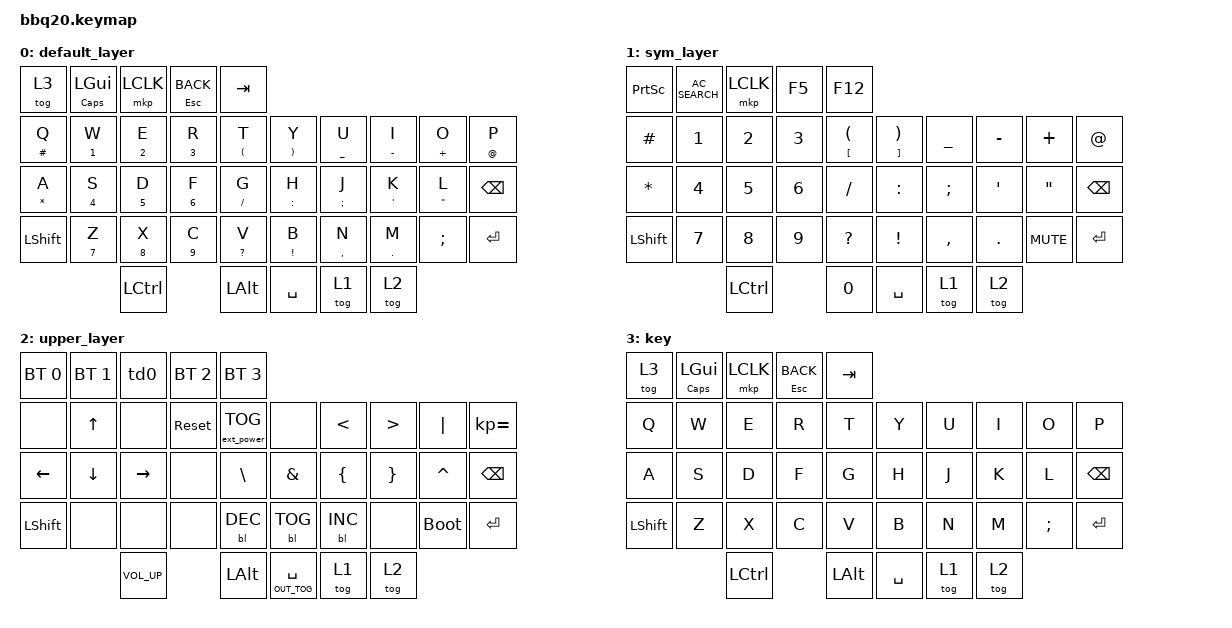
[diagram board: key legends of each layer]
/*
 *Copyright (c) 2025 XixiLee-boom
 *
 * SPDX-License-Identifier: MIT
 */

#include <dt-bindings/zmk/mouse.h>
#include <behaviors.dtsi>
#include <dt-bindings/zmk/backlight.h>
#include <dt-bindings/zmk/bt.h>
#include <dt-bindings/zmk/ext_power.h>
#include <dt-bindings/zmk/keys.h>
#include <dt-bindings/zmk/outputs.h>
#include <dt-bindings/zmk/pointing.h>

#define SYM 1
#define UPPER 2

/ {
    behaviors {
        td0: tap_dance_0 {
            compatible = "zmk,behavior-tap-dance";
            #binding-cells = <0>;
            tapping-term-ms = <400>;
            bindings = <&mkp LCLK>, <&bt BT_CLR>;
        };
    };

    behaviors {
        hm: homerow_mods {
            compatible = "zmk,behavior-hold-tap";
            #binding-cells = <2>;
            tapping-term-ms = <500>;
            bindings = <&out &kp>;
        };
    };

    behaviors {
        bhm: balanced_homerow_mods {
            compatible = "zmk,behavior-hold-tap";
            #binding-cells = <2>;
            flavor = "balanced";
            tapping-term-ms = <400>;
            bindings = <&kp>, <&kp>;
        };
    };

    keymap {
        compatible = "zmk,keymap";

        default_layer {
            bindings = <
&tog 3       &bhm CAPSLOCK LGUI  &mkp LCLK  &mt ESC K_BACK  &kp TAB
&bhm HASH Q  &bhm N1 W           &bhm N2 E  &bhm N3 R       &bhm LPAR T   &bhm RPAR Y     &bhm UNDER U  &bhm MINUS I  &bhm PLUS O  &bhm AT P
&bhm STAR A  &bhm N4 S           &bhm N5 D  &bhm N6 F       &bhm SLASH G  &bhm COLON H    &bhm SEMI J   &bhm APOS K   &bhm DQT L   &kp BSPC
&kp LSHFT    &bhm N7 Z           &bhm N8 X  &bhm N9 C       &bhm QMARK V  &bhm EXCL B     &bhm COMMA N  &bhm DOT M    &kp SEMI     &kp ENTER
                                 &kp LCTRL                  &kp LALT      &kp SPACE       &tog 1        &tog 2
            >;
        };

        sym_layer {
            bindings = <
&kp PSCRN  &kp C_AC_SEARCH  &mkp LCLK  &kp F5  &kp F12
&kp HASH   &kp N1           &kp N2     &kp N3  &mt LBKT LPAR  &mt RBKT RPAR    &kp UNDER  &kp MINUS  &kp PLUS    &kp AT
&kp STAR   &kp N4           &kp N5     &kp N6  &kp SLASH      &kp COLON        &kp SEMI   &kp APOS   &kp DQT     &kp BSPC
&kp LSHFT  &kp N7           &kp N8     &kp N9  &kp QMARK      &kp EXCL         &kp COMMA  &kp DOT    &kp C_MUTE  &kp ENTER
                            &kp LCTRL          &kp N0         &kp SPACE        &tog 1     &tog 2
            >;
        };

        upper_layer {
            bindings = <
&bt BT_SEL 0  &bt BT_SEL 1  &td0             &bt BT_SEL 2  &bt BT_SEL 3
&none         &kp UP        &none            &sys_reset    &ext_power EP_TOG  &none                &kp LT      &kp GT    &kp PIPE     &kp KP_EQUAL
&kp LEFT      &kp DOWN      &kp RIGHT        &none         &kp BSLH           &kp AMPS             &kp LBRC    &kp RBRC  &kp CARET    &kp BSPC
&kp LSHFT     &none         &none            &none         &bl BL_DEC         &bl BL_TOG           &bl BL_INC  &none     &bootloader  &kp ENTER
                            &kp K_VOLUME_UP                &kp LALT           &hm OUT_TOG SPACE    &tog 1      &tog 2
            >;
        };

        key {
            bindings = <
&tog 3     &bhm CAPSLOCK LGUI  &mkp LCLK  &mt ESC K_BACK  &kp TAB
&kp Q      &kp W               &kp E      &kp R           &kp T     &kp Y        &kp U   &kp I   &kp O     &kp P
&kp A      &kp S               &kp D      &kp F           &kp G     &kp H        &kp J   &kp K   &kp L     &kp BSPC
&kp LSHFT  &kp Z               &kp X      &kp C           &kp V     &kp B        &kp N   &kp M   &kp SEMI  &kp ENTER
                               &kp LCTRL                  &kp LALT  &kp SPACE    &tog 1  &tog 2
            >;
        };
    };
};
